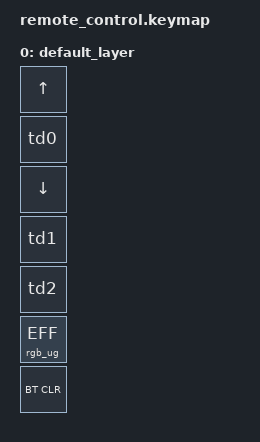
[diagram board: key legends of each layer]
/*
 * Copyright (c) 2022 The ZMK Contributors
 *
 * SPDX-License-Identifier: MIT
 */

 #include <behaviors.dtsi>
 #include <dt-bindings/zmk/keys.h>
 #include <dt-bindings/zmk/bt.h>
 #include <dt-bindings/zmk/outputs.h>
 #include <dt-bindings/zmk/rgb.h>
 
 / {
     behaviors {
        td0: tap_dance_0 {
            compatible = "zmk,behavior-tap-dance";
            label = "TAP_DANCE_0";
            #binding-cells = <0>;
            tapping-term-ms = <200>;
            bindings = <&kp KP_N1>, <&kp KP_N0>;
        };
        td1: tap_dance_1 {
            compatible = "zmk,behavior-tap-dance";
            label = "TAP_DANCE_1";
            #binding-cells = <0>;
            tapping-term-ms = <200>;
            bindings = <&kp KP_N2>, <&kp KP_N0>;
        };
        td2: tap_dance_2 {
            compatible = "zmk,behavior-tap-dance";
            label = "TAP_DANCE_2";
            #binding-cells = <0>;
            tapping-term-ms = <200>;
            bindings = <&kp KP_N3>, <&kp KP_N0>;
		};
	 };   

     
     keymap {
         compatible = "zmk,keymap";
 
         default_layer {
             bindings = <
              &kp UP
              &td0
              &kp DOWN
              &td1
              &td2
              &rgb_ug RGB_EFF
              &bt BT_CLR
             >;
         };
     };
 };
